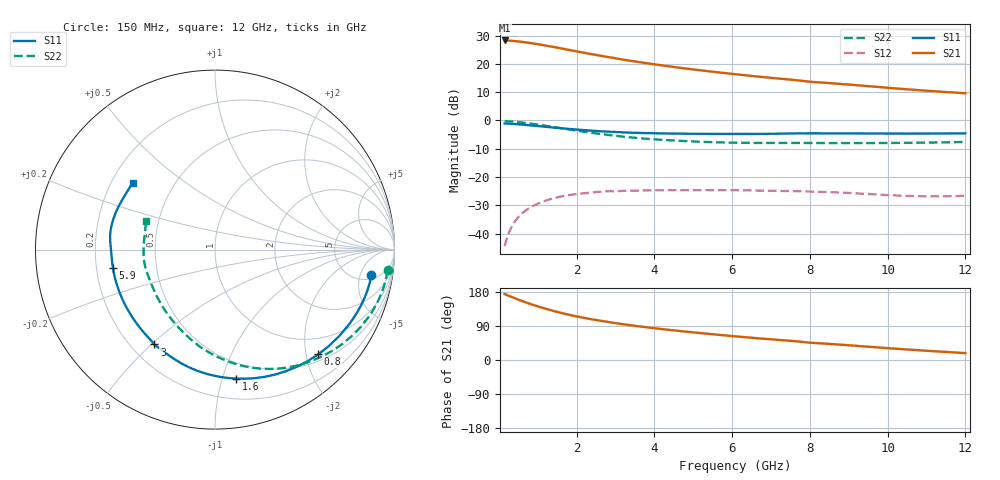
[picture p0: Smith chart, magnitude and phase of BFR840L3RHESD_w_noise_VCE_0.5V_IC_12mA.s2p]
! Infineon Technologies  Discrete & RF Semiconductors
! BFR840L3RHESD
! VCE =  0.5 V,  IC =  12 mA
! Common Emitter S-Parameters:  Jun 2012
# GHz  S  MA  R  50
!  f  S11  S21  S12  S22
! GHz  MAG  ANG  MAG  ANG  MAG  ANG  MAG  ANG
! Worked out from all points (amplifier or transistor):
!   91 points, 150 MHz to 12 GHz, reference 50 ohm
!   highest |S21| = 28.3 dB at 150 MHz (marker M1)
!   |S21| within 3 dB of that: start of sweep to 1.675 GHz
!   unconditionally stable (mu >= 1): 7.897 GHz to end of sweep
!   at 1.3 GHz: K = 0.15, MSG = 27.1 dB, |S12| = -27.9 dB
!   at 4.3 GHz: K = 0.49, MSG = 22.0 dB, |S12| = -24.7 dB
!   at 12 GHz: K = 1.99, MAG = 12.4 dB, |S12| = -26.6 dB
!   lowest NFmin = 0.78 dB at 450 MHz
!   S11 on the Smith chart (normalised r, x): 150 MHz: 6.05, -7.76; 800 MHz: 0.63, -2.24; 1.6 GHz: 0.36, -1.11; 3 GHz: 0.29, -0.51; 5.9 GHz: 0.27, -0.08; 12 GHz: 0.29, +0.33
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0.15  0.8831 -9.2  25.91 174.0  0.006 83.1  0.9683 -6.9
0.3  0.8753 -18.0  25.63 167.6  0.0119 77.9  0.9594 -14.4
0.5  0.8548 -29.4  24.89 159.5  0.0195 72.3  0.9344 -23.7
0.7  0.8313 -40.3  23.93 151.8  0.0259 66.5  0.9011 -32.4
0.8  0.8195 -45.4  23.4 148.3  0.0287 63.5  0.8828 -36.6
1  0.796 -55.2  22.27 141.6  0.0337 57.7  0.8446 -44.5
1.2  0.7726 -64.3  21.1 135.4  0.0381 52.5  0.8057 -52.0
1.4  0.7498 -72.8  19.92 129.7  0.042 48.0  0.7674 -59.0
1.6  0.7282 -80.7  18.76 124.4  0.0453 44.2  0.7302 -65.6
1.9  0.6993 -91.7  17.13 117.3  0.0491 39.2  0.6776 -74.6
2.2  0.6743 -101.4  15.67 111.0  0.0518 34.6  0.6302 -82.8
2.6  0.6457 -112.5  13.97 103.9  0.0548 29.5  0.578 -92.5
3  0.6276 -122.6  12.56 97.3  0.0558 25.4  0.5366 -100.9
3.6  0.6018 -135.3  10.77 88.9  0.0577 21.2  0.4867 -112.9
4.2  0.5899 -146.0  9.395 81.5  0.0584 18.0  0.4542 -123.2
5  0.5815 -158.3  7.968 72.9  0.0585 13.6  0.4254 -135.5
5.9  0.5778 -169.9  6.766 64.1  0.0586 10.5  0.4064 -147.9
6.1  0.5773 -172.2  6.537 62.3  0.0585 9.9  0.404 -150.4
8  0.5919 167.3  4.83 45.6  0.0554 5.6  0.3995 -173.7
8.5  0.5915 163.4  4.577 42.5  0.0541 5.0  0.3986 -177.8
10.5  0.586 148.6  3.55 27.8  0.0463 7.6  0.402 166.1
12  0.5913 140.9  3.026 18.2  0.0467 15.6  0.4169 157.7
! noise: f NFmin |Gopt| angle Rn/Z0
0.45  0.78  0.25  6  0.16
0.9  0.81  0.25  11  0.16
1.9  0.84  0.27  32  0.15
3.5  0.84  0.27  53  0.14
4  0.86  0.27  62  0.13
5.5  0.88  0.28  77  0.13
7  0.94  0.28  96  0.12
8  1  0.27  107  0.11
10  1.1  0.25  127  0.11
12  1.22  0.25  164  0.11
